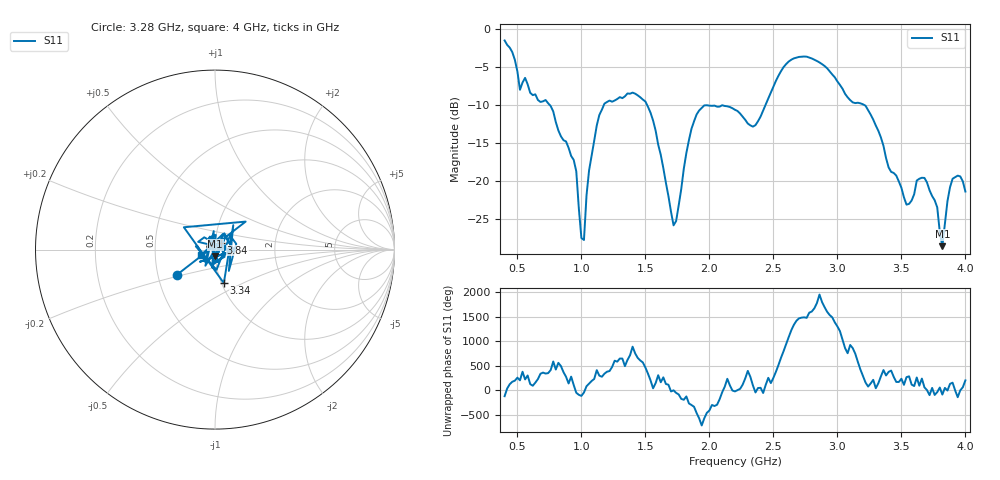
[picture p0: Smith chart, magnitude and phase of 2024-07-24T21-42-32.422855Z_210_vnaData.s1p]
!Created with skrf (http://scikit-rf.org).
# Hz S RI R 50.0
!freq ReS11 ImS11
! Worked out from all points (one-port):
!   181 points, 400 MHz to 4 GHz, reference 50 ohm
!   lowest |S11| = -28.6 dB at 3.82 GHz (marker M1), VSWR 1.08, Z = 50 - j3.72 ohm
!   |S11| at or under -10 dB: 752 MHz to 1.176 GHz (423.8 MHz wide, 44 % of centre); 1.513 GHz to 2.438 GHz (924.9 MHz wide, 46.8 % of centre); 3.208 GHz to end of sweep
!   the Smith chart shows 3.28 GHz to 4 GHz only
!   S11 on the Smith chart (normalised r, x): 3.28 GHz: 0.63, -0.19; 3.34 GHz: 1.03, -0.40; 3.84 GHz: 1.07, +0.08; 4 GHz: 0.85, -0.06
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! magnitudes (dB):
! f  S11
! 400 MHz  -1.5
! 520 MHz  -8.0
! 720 MHz  -9.4
! 860 MHz  -14.6
! 960 MHz  -18.8
! 1 GHz  -27.5
! 1.02 GHz  -27.8
! 1.06 GHz  -18.6
! 1.14 GHz  -11.3
! 1.3 GHz  -9.0
! 1.5 GHz  -9.6
! 1.58 GHz  -13.4
! 1.72 GHz  -25.9
! 1.76 GHz  -23.2
! 1.9 GHz  -11.3
! 2.2 GHz  -10.6
! 2.36 GHz  -12.7
! 2.66 GHz  -3.9
! 3.1 GHz  -9.4
! 3.28 GHz  -11.9
! 3.34 GHz  -14.3
! 3.56 GHz  -23.0
! 3.68 GHz  -19.6
! 3.78 GHz  -23.5
! 3.82 GHz  -28.6
! 3.84 GHz  -25.6
! 3.9 GHz  -19.7
! 4 GHz  -21.4
